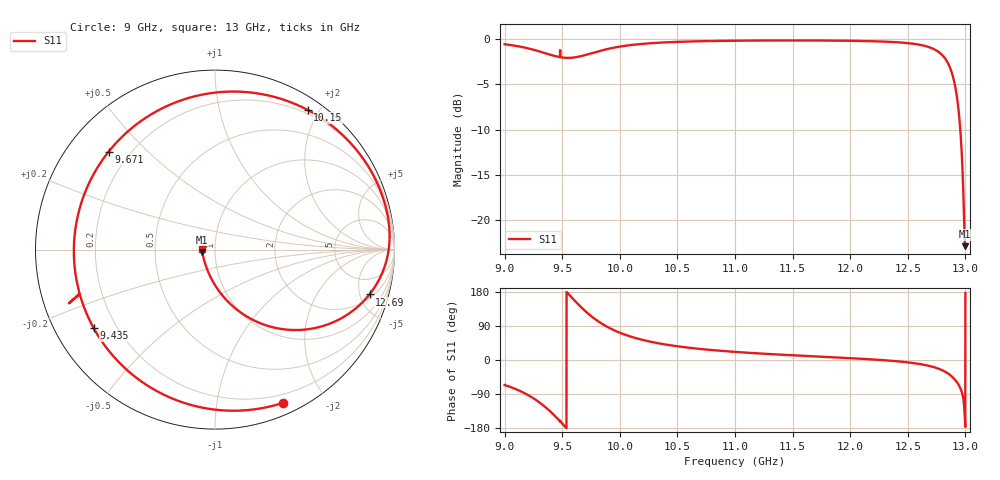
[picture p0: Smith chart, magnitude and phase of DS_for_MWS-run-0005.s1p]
! TOUCHSTONE file generated by CST DESIGN STUDIO
! Date and time: Tue Feb  4 14:03:02 2025
! Project name: C:\Work\MatlabApps\UnitCellOptimizationMatlab\CST\unitcell.cst
! Tree item: Tasks\Sweep1\SPara1\S-Parameters
! Header version: 2024
! Port assignment regex: !\s*Touchstone port\s*([0-9]+)\s*=\s*(CST MWS port|CST DES external port|CST DES block port)\s*(.+)\s* \(\"(.*)\"\)(\s*mode\s*([0-9]+))?.*
! Touchstone port assignment:
! Touchstone port 1 = CST DES external port 1 ("")
# GHz S MA R 50
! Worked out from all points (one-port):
!   4001 points, 9 GHz to 13 GHz, reference 50 ohm
!   lowest |S11| = -22.8 dB at 13 GHz (marker M1), VSWR 1.16, Z = 43.3 - j1.1 ohm
!   |S11| at or under -10 dB: 12.95576 GHz to end of sweep
!   S11 on the Smith chart (normalised r, x): 9 GHz: 0.11, -1.53; 9.435 GHz: 0.12, -0.29; 9.671 GHz: 0.12, +0.39; 10.15 GHz: 0.15, +1.86; 12.69 GHz: 2.41, -6.11; 13 GHz: 0.86, +0.01
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9  0.9343 -66.0
9.123  0.9094 -80.2
9.255  0.8702 -102.0
9.347  0.8362 -122.6
9.435  0.8052 -147.1
9.5  0.7901 -167.6
9.582  0.7875 165.1
9.671  0.8057 137.3
9.741  0.8287 118.3
9.814  0.8544 101.8
9.897  0.8807 86.6
10  0.9069 72.0
10.155  0.9338 56.4
10.311  0.9506 45.5
10.5  0.9631 36.2
11  0.9773 21.4
11.5  0.9805 12.5
12  0.9763 4.9
12.5  0.9479 -6.3
12.694  0.8963 -16.2
12.763  0.8516 -22.5
12.818  0.7889 -29.9
12.865  0.6982 -39.1
12.91  0.5533 -52.1
12.935  0.4364 -62.4
12.955  0.321 -73.6
12.998  0.0722 -169.9
13  0.07393 176.8
